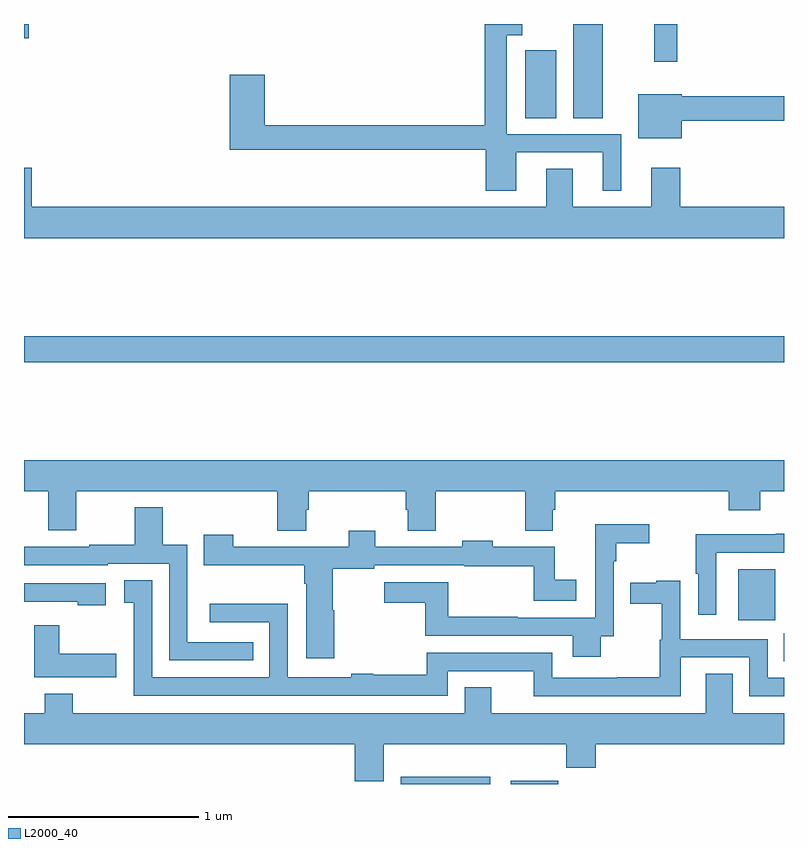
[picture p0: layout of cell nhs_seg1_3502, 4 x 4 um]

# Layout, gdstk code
import gdstk
lib = gdstk.Library(unit=1e-6, precision=1e-09)
def R(c, l, rs):  # rectangles x0, y0, x1, y1
    for r in rs: c.add(gdstk.rectangle(r[:2], r[2:], *l))
def P(c, l, *ps):  # polygons
    for p in ps: c.add(gdstk.Polygon(p, *l))
L2000_40 = (2000, 40)

nhs_seg1_3502 = lib.new_cell('nhs_seg1_3502')
R(nhs_seg1_3502, L2000_40, [(302.984,542.199,303.454,542.236), (303.563,542.199,303.812,542.215), (304.999,542.846,305,542.993), (304.76,543.06,304.954,543.328), (301,544.42,305,544.556), (303.638,545.704,303.802,546.061), (303.89,545.704,304.045,546.199), (304.318,546,304.439,546.199), (301,546.123,301.025,546.199)])
P(nhs_seg1_3502, L2000_40, [(303.592,545.523),(304.046,545.523),(304.046,545.322),(304.144,545.322),(304.144,545.619),(303.54,545.619),(303.54,546.141),(303.622,546.141),(303.622,546.199),(303.424,546.199),(303.424,545.666),(302.267,545.666),(302.267,545.932),(302.084,545.932),(302.084,545.538),(303.431,545.538),(303.431,545.322),(303.592,545.322)],
  [(304.462,545.691),(305,545.691),(305,545.819),(304.462,545.819),(304.462,545.83),(304.232,545.83),(304.232,545.597),(304.462,545.597)],
  [(301,545.443),(301,545.072),(305,545.072),(305,545.236),(304.454,545.236),(304.454,545.443),(304.301,545.443),(304.301,545.236),(303.889,545.236),(303.889,545.438),(303.749,545.438),(303.749,545.236),(301.04,545.236),(301.04,545.443)],
  [(302.485,543.642),(302.498,543.642),(302.498,543.74),(303.008,543.74),(303.008,543.642),(303.02,543.642),(303.02,543.532),(303.168,543.532),(303.168,543.74),(303.637,543.74),(303.637,543.532),(303.784,543.532),(303.784,543.642),(303.797,543.642),(303.797,543.74),(304.709,543.74),(304.709,543.641),(304.874,543.641),(304.874,543.74),(305,543.74),(305,543.904),(301,543.904),(301,543.74),(301.127,543.74),(301.127,543.534),(301.275,543.534),(301.275,543.74),(302.333,543.74),(302.333,543.532),(302.485,543.532)],
  [(302.207,542.946),(301.86,542.946),(301.86,543.458),(301.729,543.458),(301.729,543.655),(301.582,543.655),(301.582,543.458),(301.344,543.458),(301.344,543.447),(301,543.447),(301,543.351),(301.44,543.351),(301.44,543.357),(301.764,543.357),(301.764,542.85),(302.207,542.85)],
  [(304.035,542.977),(304.104,542.977),(304.104,543.371),(304.117,543.371),(304.117,543.467),(304.291,543.467),(304.291,543.565),(304.007,543.565),(304.007,543.075),(303.599,543.075),(303.599,543.08),(303.232,543.08),(303.232,543.261),(302.895,543.261),(302.895,543.153),(303.111,543.153),(303.111,542.979),(303.887,542.979),(303.887,542.87),(304.035,542.87)],
  [(302.634,543.114),(302.626,543.114),(302.626,543.331),(302.844,543.331),(302.844,543.351),(303.318,543.351),(303.318,543.346),(303.684,543.346),(303.684,543.164),(303.907,543.164),(303.907,543.274),(303.794,543.274),(303.794,543.447),(303.467,543.447),(303.467,543.478),(303.307,543.478),(303.307,543.447),(302.848,543.447),(302.848,543.532),(302.708,543.532),(302.708,543.447),(302.102,543.447),(302.102,543.511),(301.945,543.511),(301.945,543.351),(302.053,543.351),(302.053,543.35),(302.474,543.35),(302.474,543.254),(302.486,543.254),(302.486,542.862),(302.634,542.862)],
  [(304.644,543.417),(305,543.417),(305,543.516),(304.957,543.516),(304.957,543.513),(304.536,543.513),(304.536,543.306),(304.548,543.306),(304.548,543.09),(304.644,543.09)],
  [(304.456,542.865),(304.818,542.865),(304.818,542.661),(305,542.661),(305,542.757),(304.914,542.757),(304.914,542.961),(304.455,542.961),(304.455,543.268),(304.328,543.268),(304.328,543.257),(304.191,543.257),(304.191,543.147),(304.357,543.147),(304.357,542.958),(304.347,542.958),(304.347,542.76),(304.123,542.76),(304.123,542.757),(303.78,542.757),(303.78,542.889),(303.119,542.889),(303.119,542.773),(302.838,542.773),(302.838,542.78),(302.722,542.78),(302.722,542.76),(302.388,542.76),(302.388,543.149),(301.977,543.149),(301.977,543.051),(302.292,543.051),(302.292,542.76),(301.674,542.76),(301.674,543.272),(301.527,543.272),(301.527,543.154),(301.578,543.154),(301.578,542.664),(303.231,542.664),(303.231,542.793),(303.682,542.793),(303.682,542.661),(304.456,542.661)],
  [(301.429,543.255),(301,543.255),(301,543.159),(301.284,543.159),(301.284,543.14),(301.429,543.14)],
  [(301.486,542.884),(301.185,542.884),(301.185,543.034),(301.055,543.034),(301.055,542.762),(301.486,542.762)],
  [(303.46,542.708),(303.32,542.708),(303.32,542.572),(301.257,542.572),(301.257,542.674),(301.109,542.674),(301.109,542.572),(301,542.572),(301,542.408),(302.741,542.408),(302.741,542.214),(302.893,542.214),(302.893,542.408),(303.853,542.408),(303.853,542.284),(304.01,542.284),(304.01,542.408),(305,542.408),(305,542.572),(304.729,542.572),(304.729,542.78),(304.589,542.78),(304.589,542.572),(303.46,542.572)])

lib.write_gds('nhs_seg1_3502.gds')
